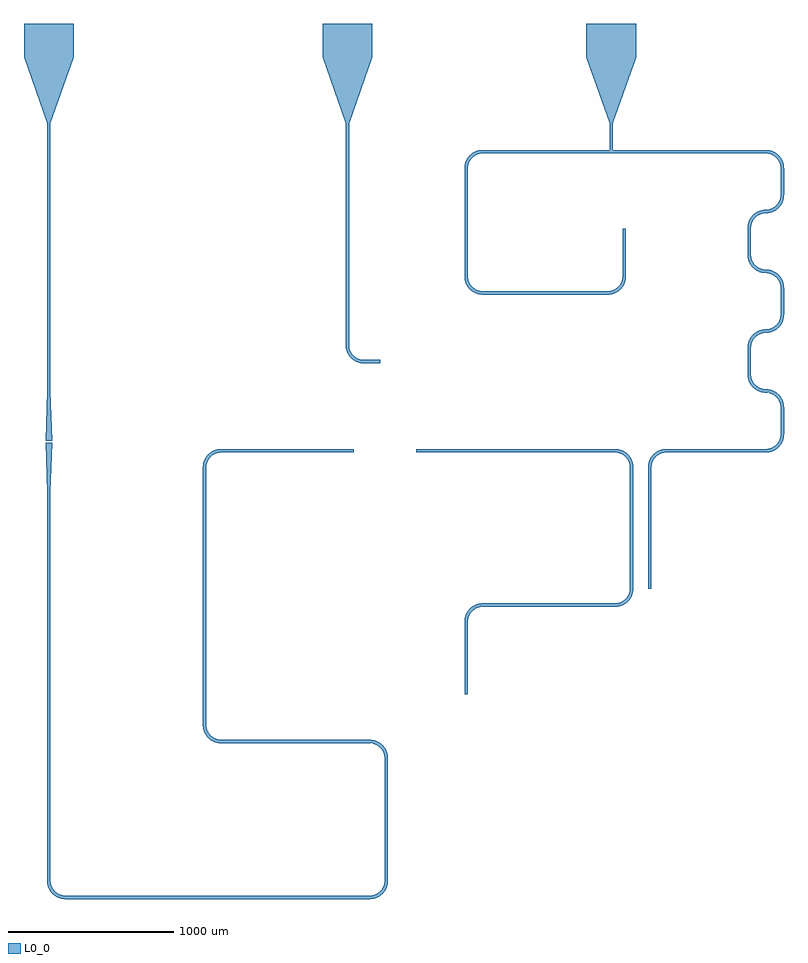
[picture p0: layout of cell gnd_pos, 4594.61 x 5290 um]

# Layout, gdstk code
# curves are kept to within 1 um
import gdstk
lib = gdstk.Library(unit=1e-6, precision=1e-09)
def R(c, l, rs):  # rectangles x0, y0, x1, y1
    for r in rs: c.add(gdstk.rectangle(r[:2], r[2:], *l))
def A(c, l, x, y, w, h, nx, ny, dx, dy):  # array of equal rectangles
    R(c, l, [(x+i*dx, y+j*dy, x+i*dx+w, y+j*dy+h) for i in range(nx) for j in range(ny)])
def P(c, l, *ps):  # polygons
    for p in ps: c.add(gdstk.Polygon(p, *l))
L0_0 = (0, 0)

gnd_pos = lib.new_cell('gnd_pos')
A(gnd_pos, L0_0, 6119.612, 3600, 20, 161.6, 1, 3, 0, 723.2)
R(gnd_pos, L0_0, [(1795,790,3635,810), (1685,900,1705,3248.102), (3725,900,3745,1641.9), (2736.9,1731.9,3635,1751.9), (2626.9,1841.9,2646.9,3400), (4208.1,2027.239,4228.1,2051.239), (4208.1,2051.239,4228.1,2467), (4318.1,2557,5118.1,2577), (5208.1,2667,5228.1,3400), (5318.1,2667,5338.1,3400), (2736.9,3490,3539.9,3510), (3915.1,3490,5118.1,3510), (5428.1,3490,6029.612,3510), (1685,3861.102,1705,5308), (5919.612,3961.6,5939.612,4123.2), (3600,4028.8,3700,4048.8), (3490,4138.8,3510,5480), (4318.1,4444,5073.856,4464), (4208.1,4554,4228.1,5208), (5163.856,4554,5183.856,4841.105), (5919.612,4684.8,5939.612,4846.4), (4318.1,5298,5095,5318), (5095,5298,6029.612,5318), (1685,5308,1705,5480), (5085,5308,5105,5480), (1545,5880,1845,6080), (3350,5880,3650,6080), (4945,5880,5245,6080)])
P(gnd_pos, L0_0, [(3490,5480),(3350,5880),(3650,5880),(3510,5480)],
  [(3600,4028.8),(3579.271,4030.771),(3559.285,4036.613),(3538.269,4047.754),(3522.218,4061.018),(3508.954,4077.069),(3497.813,4098.085),(3491.971,4118.071),(3490,4138.8),(3510,4138.8),(3511.186,4124.24),(3514.711,4110.063),(3520.484,4096.643),(3529.853,4082.414),(3543.614,4068.653),(3560.012,4058.171),(3578.28,4051.46),(3600,4048.8)],
  [(2626.9,3400),(2628.871,3420.729),(2634.713,3440.715),(2645.854,3461.731),(2659.118,3477.782),(2675.169,3491.046),(2696.185,3502.187),(2716.171,3508.029),(2736.9,3510),(2736.9,3490),(2722.34,3488.814),(2708.163,3485.289),(2694.743,3479.516),(2680.514,3470.147),(2666.753,3456.386),(2656.271,3439.988),(2649.56,3421.72),(2646.9,3400)],
  [(2736.9,1731.9),(2716.171,1733.871),(2696.185,1739.713),(2675.169,1750.854),(2659.118,1764.118),(2645.854,1780.169),(2634.713,1801.185),(2628.871,1821.171),(2626.9,1841.9),(2646.9,1841.9),(2648.086,1827.34),(2651.611,1813.163),(2657.384,1799.743),(2666.753,1785.514),(2680.514,1771.753),(2696.912,1761.271),(2715.18,1754.56),(2736.9,1751.9)],
  [(3725,1641.9),(3723.814,1656.46),(3720.289,1670.637),(3714.516,1684.057),(3705.147,1698.286),(3691.386,1712.047),(3674.988,1722.529),(3656.72,1729.24),(3635,1731.9),(3635,1751.9),(3661.547,1748.649),(3683.874,1740.446),(3703.916,1727.635),(3720.735,1710.816),(3730.755,1696.038),(3738.253,1679.833),(3743.029,1662.629),(3744.839,1647.855),(3745,1641.9)],
  [(3635,790),(3635,810),(3649.56,811.186),(3663.737,814.711),(3677.157,820.484),(3691.386,829.853),(3705.147,843.614),(3715.629,860.012),(3722.34,878.28),(3725,900),(3745,900),(3743.029,879.271),(3737.187,859.285),(3726.046,838.269),(3712.782,822.218),(3696.731,808.954),(3675.715,797.813),(3655.729,791.971)],
  [(1795,790),(1774.271,791.971),(1754.285,797.813),(1733.269,808.954),(1717.218,822.218),(1703.954,838.269),(1692.813,859.285),(1686.971,879.271),(1685,900),(1705,900),(1706.186,885.44),(1709.711,871.263),(1715.484,857.843),(1724.853,843.614),(1738.614,829.853),(1755.012,819.371),(1773.28,812.66),(1795,810)],
  [(1685,3248.102),(1675,3548.102),(1715,3548.102),(1705,3248.102)],
  [(1685,5480),(1545,5880),(1845,5880),(1705,5480)],
  [(1675,3561.102),(1685,3861.102),(1705,3861.102),(1715,3561.102)],
  [(5208.1,3400),(5206.914,3414.56),(5203.389,3428.737),(5197.616,3442.157),(5188.247,3456.386),(5174.486,3470.147),(5158.088,3480.629),(5139.82,3487.34),(5118.1,3490),(5118.1,3510),(5144.647,3506.749),(5166.974,3498.546),(5187.016,3485.735),(5203.835,3468.916),(5213.855,3454.138),(5221.353,3437.933),(5226.129,3420.729),(5227.939,3405.955),(5228.1,3400)],
  [(5118.1,2557),(5118.1,2577),(5132.66,2578.186),(5146.837,2581.711),(5160.257,2587.484),(5174.486,2596.853),(5188.247,2610.614),(5198.729,2627.012),(5205.44,2645.28),(5208.1,2667),(5228.1,2667),(5226.129,2646.271),(5220.287,2626.285),(5209.146,2605.269),(5195.882,2589.218),(5179.831,2575.954),(5158.815,2564.813),(5138.829,2558.971)],
  [(4208.1,2467),(4210.071,2487.729),(4215.913,2507.715),(4227.054,2528.731),(4240.318,2544.782),(4256.369,2558.046),(4277.385,2569.187),(4297.371,2575.029),(4318.1,2577),(4318.1,2557),(4303.54,2555.814),(4289.363,2552.289),(4275.943,2546.516),(4261.714,2537.147),(4247.953,2523.386),(4237.471,2506.988),(4230.76,2488.72),(4228.1,2467)],
  [(5085,5480),(4945,5880),(5245,5880),(5105,5480)],
  [(5318.1,3400),(5320.071,3420.729),(5325.913,3440.715),(5337.054,3461.731),(5350.318,3477.782),(5366.369,3491.046),(5387.385,3502.187),(5407.371,3508.029),(5428.1,3510),(5428.1,3490),(5413.54,3488.814),(5399.363,3485.289),(5385.943,3479.516),(5371.714,3470.147),(5357.953,3456.386),(5347.471,3439.988),(5340.76,3421.72),(5338.1,3400)],
  [(6029.612,3490),(6029.612,3510),(6044.172,3511.186),(6058.349,3514.711),(6071.769,3520.484),(6085.998,3529.853),(6099.759,3543.614),(6110.241,3560.012),(6116.952,3578.28),(6119.612,3600),(6139.612,3600),(6137.641,3579.271),(6131.799,3559.285),(6120.658,3538.269),(6107.394,3522.218),(6091.343,3508.954),(6070.327,3497.813),(6050.341,3491.971)],
  [(6119.612,3761.6),(6118.426,3776.16),(6114.901,3790.337),(6109.128,3803.757),(6099.759,3817.986),(6085.998,3831.747),(6069.6,3842.229),(6051.332,3848.94),(6029.612,3851.6),(6029.612,3871.6),(6056.159,3868.349),(6078.486,3860.146),(6098.528,3847.335),(6115.347,3830.516),(6125.367,3815.738),(6132.865,3799.533),(6137.641,3782.329),(6139.451,3767.555),(6139.612,3761.6)],
  [(6029.612,3851.6),(6008.883,3853.571),(5988.897,3859.413),(5967.881,3870.554),(5951.83,3883.818),(5938.566,3899.869),(5927.425,3920.885),(5921.583,3940.871),(5919.612,3961.6),(5939.612,3961.6),(5940.798,3947.04),(5944.323,3932.863),(5950.096,3919.443),(5959.465,3905.214),(5973.226,3891.453),(5989.624,3880.971),(6007.892,3874.26),(6029.612,3871.6)],
  [(5919.612,4123.2),(5921.583,4143.929),(5927.425,4163.915),(5938.566,4184.931),(5951.83,4200.982),(5967.881,4214.246),(5988.897,4225.387),(6008.883,4231.229),(6029.612,4233.2),(6029.612,4213.2),(6015.052,4212.014),(6000.875,4208.489),(5987.455,4202.716),(5973.226,4193.347),(5959.465,4179.586),(5947.93,4160.99),(5941.716,4142.547),(5939.612,4123.2)],
  [(6029.612,4213.2),(6029.612,4233.2),(6044.172,4234.386),(6058.349,4237.911),(6071.769,4243.684),(6085.998,4253.053),(6099.759,4266.814),(6110.241,4283.212),(6116.952,4301.48),(6119.612,4323.2),(6139.612,4323.2),(6137.641,4302.471),(6131.799,4282.485),(6120.658,4261.469),(6107.394,4245.418),(6091.343,4232.154),(6070.327,4221.013),(6050.341,4215.171)],
  [(6119.612,4484.8),(6118.426,4499.36),(6114.901,4513.537),(6109.128,4526.957),(6099.759,4541.186),(6085.998,4554.947),(6069.6,4565.429),(6051.332,4572.14),(6029.612,4574.8),(6029.612,4594.8),(6056.159,4591.549),(6078.486,4583.346),(6098.528,4570.535),(6115.347,4553.716),(6125.367,4538.938),(6132.865,4522.733),(6137.641,4505.529),(6139.451,4490.755),(6139.612,4484.8)],
  [(6029.612,4574.8),(6008.883,4576.771),(5988.897,4582.613),(5967.881,4593.754),(5951.83,4607.018),(5938.566,4623.069),(5927.425,4644.085),(5921.583,4664.071),(5919.612,4684.8),(5939.612,4684.8),(5940.798,4670.24),(5944.323,4656.063),(5950.096,4642.643),(5959.465,4628.414),(5973.226,4614.653),(5989.624,4604.171),(6007.892,4597.46),(6029.612,4594.8)],
  [(5919.612,4846.4),(5921.583,4867.129),(5927.425,4887.115),(5938.566,4908.131),(5951.83,4924.182),(5967.881,4937.446),(5988.897,4948.587),(6008.883,4954.429),(6029.612,4956.4),(6029.612,4936.4),(6015.052,4935.214),(6000.875,4931.689),(5987.455,4925.916),(5973.226,4916.547),(5959.465,4902.786),(5947.93,4884.19),(5941.716,4865.747),(5939.612,4846.4)],
  [(6029.612,4936.4),(6029.612,4956.4),(6044.172,4957.586),(6058.349,4961.111),(6071.769,4966.884),(6085.998,4976.253),(6099.759,4990.014),(6110.241,5006.412),(6116.952,5024.68),(6119.612,5046.4),(6139.612,5046.4),(6137.641,5025.671),(6131.799,5005.685),(6120.658,4984.669),(6107.394,4968.618),(6091.343,4955.354),(6070.327,4944.213),(6050.341,4938.371)],
  [(6119.612,5208),(6118.426,5222.56),(6114.901,5236.737),(6109.128,5250.157),(6099.759,5264.386),(6085.998,5278.147),(6069.6,5288.629),(6051.332,5295.34),(6029.612,5298),(6029.612,5318),(6056.159,5314.749),(6078.486,5306.546),(6098.528,5293.735),(6115.347,5276.916),(6125.367,5262.138),(6132.865,5245.933),(6137.641,5228.729),(6139.451,5213.955),(6139.612,5208)],
  [(4208.1,5208),(4210.071,5228.729),(4215.913,5248.715),(4227.054,5269.731),(4240.318,5285.782),(4256.369,5299.046),(4277.385,5310.187),(4297.371,5316.029),(4318.1,5318),(4318.1,5298),(4303.54,5296.814),(4289.363,5293.289),(4275.943,5287.516),(4261.714,5278.147),(4247.953,5264.386),(4237.471,5247.988),(4230.76,5229.72),(4228.1,5208)],
  [(4318.1,4444),(4297.371,4445.971),(4277.385,4451.813),(4256.369,4462.954),(4240.318,4476.218),(4227.054,4492.269),(4215.913,4513.285),(4210.071,4533.271),(4208.1,4554),(4228.1,4554),(4229.286,4539.44),(4232.811,4525.263),(4238.584,4511.843),(4247.953,4497.614),(4261.714,4483.853),(4278.112,4473.371),(4296.38,4466.66),(4318.1,4464)],
  [(5073.856,4444),(5073.856,4464),(5088.416,4465.186),(5102.593,4468.711),(5116.013,4474.484),(5130.242,4483.853),(5144.003,4497.614),(5154.485,4514.012),(5161.196,4532.28),(5163.856,4554),(5183.856,4554),(5181.885,4533.271),(5176.043,4513.285),(5164.902,4492.269),(5151.638,4476.218),(5135.587,4462.954),(5114.571,4451.813),(5094.585,4445.971)])

lib.write_gds('gnd_pos.gds')
